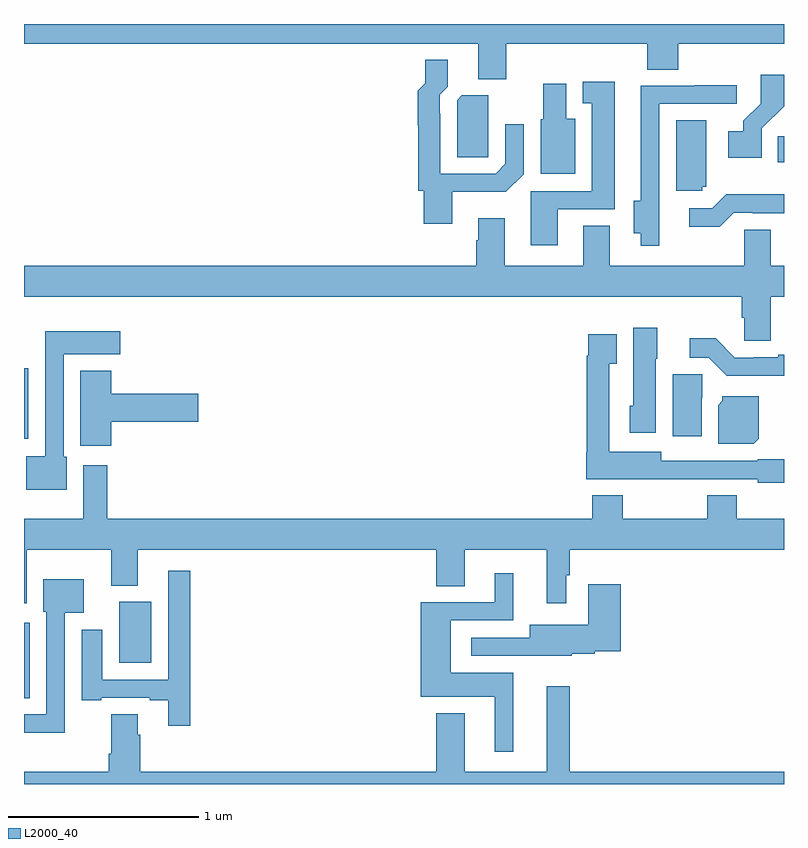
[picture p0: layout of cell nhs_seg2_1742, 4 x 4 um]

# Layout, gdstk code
import gdstk
lib = gdstk.Library(unit=1e-6, precision=1e-09)
def R(c, l, rs):  # rectangles x0, y0, x1, y1
    for r in rs: c.add(gdstk.rectangle(r[:2], r[2:], *l))
def P(c, l, *ps):  # polygons
    for p in ps: c.add(gdstk.Polygon(p, *l))
L2000_40 = (2000, 40)

nhs_seg2_1742 = lib.new_cell('nhs_seg2_1742')
R(nhs_seg2_1742, L2000_40, [(203,584.251,203.029,584.65), (203.501,584.438,203.671,584.758), (203,585.618,203.023,585.988), (206.968,587.072,207,587.21)])
P(nhs_seg2_1742, L2000_40, [(205.539,587.696),(206.279,587.696),(206.279,587.56),(206.444,587.56),(206.444,587.696),(207,587.696),(207,587.8),(203,587.8),(203,587.696),(205.391,587.696),(205.391,587.509),(205.539,587.509)],
  [(205.255,586.916),(205.535,586.916),(205.629,587.01),(205.629,587.272),(205.533,587.272),(205.533,587.064),(205.482,587.013),(205.191,587.013),(205.191,587.327),(205.188,587.327),(205.188,587.427),(205.231,587.47),(205.231,587.611),(205.111,587.611),(205.111,587.487),(205.073,587.448),(205.073,587.266),(205.075,587.266),(205.075,586.923),(205.103,586.923),(205.103,586.749),(205.255,586.749)],
  [(206.883,587.251),(207,587.368),(207,587.533),(206.877,587.533),(206.877,587.381),(206.786,587.291),(206.786,587.236),(206.706,587.236),(206.706,587.096),(206.883,587.096)],
  [(205.81,586.824),(206.11,586.824),(206.11,587.497),(205.94,587.497),(205.94,587.384),(205.988,587.384),(205.988,586.92),(205.667,586.92),(205.667,586.635),(205.81,586.635)],
  [(205.9,587.302),(205.855,587.302),(205.855,587.485),(205.733,587.485),(205.733,587.298),(205.721,587.298),(205.721,587.012),(205.9,587.012)],
  [(206.344,586.854),(206.343,586.854),(206.343,587.379),(206.752,587.379),(206.752,587.478),(206.527,587.478),(206.527,587.475),(206.246,587.475),(206.246,586.871),(206.21,586.871),(206.21,586.7),(206.246,586.7),(206.246,586.632),(206.344,586.632)],
  [(205.443,587.209),(205.444,587.209),(205.444,587.424),(205.305,587.424),(205.281,587.4),(205.281,587.098),(205.443,587.098)],
  [(206.571,586.944),(206.59,586.944),(206.59,587.293),(206.432,587.293),(206.432,586.923),(206.571,586.923)],
  [(206.736,586.806),(206.836,586.806),(206.836,586.803),(207,586.803),(207,586.903),(206.695,586.903),(206.622,586.83),(206.502,586.83),(206.502,586.733),(206.663,586.733)],
  [(206.929,586.364),(207,586.364),(207,586.528),(206.929,586.528),(206.929,586.718),(206.79,586.718),(206.79,586.528),(206.083,586.528),(206.083,586.739),(205.943,586.739),(205.943,586.528),(205.531,586.528),(205.531,586.777),(205.391,586.777),(205.391,586.661),(205.379,586.661),(205.379,586.528),(203,586.528),(203,586.364),(206.777,586.364),(206.777,586.254),(206.79,586.254),(206.79,586.132),(206.929,586.132)],
  [(206.326,586.038),(206.332,586.038),(206.332,586.201),(206.207,586.201),(206.207,585.792),(206.189,585.792),(206.189,585.648),(206.326,585.648)],
  [(203.224,585.522),(203.208,585.522),(203.208,586.061),(203.506,586.061),(203.506,586.183),(203.112,586.183),(203.112,585.526),(203.012,585.526),(203.012,585.35),(203.224,585.35)],
  [(207,585.508),(206.862,585.508),(206.862,585.501),(206.353,585.501),(206.353,585.55),(206.079,585.55),(206.079,586.012),(206.119,586.012),(206.119,586.168),(205.971,586.168),(205.971,586.055),(205.963,586.055),(205.963,585.546),(205.958,585.546),(205.958,585.404),(206.345,585.404),(206.345,585.405),(206.862,585.405),(206.862,585.386),(207,585.386)],
  [(207,586.06),(206.969,586.06),(206.969,586.047),(206.842,586.047),(206.842,586.044),(206.742,586.044),(206.64,586.147),(206.505,586.147),(206.505,586.044),(206.604,586.044),(206.698,585.95),(207,585.95)],
  [(203.459,585.707),(203.917,585.707),(203.917,585.854),(203.459,585.854),(203.459,585.976),(203.297,585.976),(203.297,585.579),(203.459,585.579)],
  [(206.566,585.834),(206.57,585.834),(206.57,585.957),(206.414,585.957),(206.414,585.63),(206.566,585.63)],
  [(206.866,585.616),(206.866,585.841),(206.676,585.841),(206.676,585.816),(206.654,585.794),(206.654,585.59),(206.84,585.59)],
  [(203.014,585.032),(203.459,585.032),(203.459,584.843),(203.599,584.843),(203.599,585.032),(205.169,585.032),(205.169,584.842),(205.321,584.842),(205.321,585.032),(205.751,585.032),(205.751,584.751),(205.855,584.751),(205.855,584.9),(205.873,584.9),(205.873,585.032),(207,585.032),(207,585.196),(206.751,585.196),(206.751,585.32),(206.596,585.32),(206.596,585.196),(206.151,585.196),(206.151,585.319),(205.991,585.319),(205.991,585.196),(203.438,585.196),(203.438,585.478),(203.312,585.478),(203.312,585.196),(203,585.196),(203,584.751),(203.014,584.751)],
  [(203.876,584.923),(203.76,584.923),(203.76,584.349),(203.413,584.349),(203.413,584.611),(203.303,584.611),(203.303,584.241),(203.407,584.241),(203.407,584.253),(203.663,584.253),(203.663,584.241),(203.759,584.241),(203.759,584.106),(203.876,584.106)],
  [(205.576,584.386),(205.246,584.386),(205.246,584.661),(205.576,584.661),(205.576,584.908),(205.478,584.908),(205.478,584.757),(205.088,584.757),(205.088,584.258),(205.478,584.258),(205.478,583.971),(205.576,583.971)],
  [(203.214,584.702),(203.314,584.702),(203.314,584.878),(203.102,584.878),(203.102,584.706),(203.118,584.706),(203.118,584.166),(203,584.166),(203,584.069),(203.214,584.069)],
  [(205.884,584.486),(206.004,584.486),(206.004,584.498),(206.141,584.498),(206.141,584.851),(205.97,584.851),(205.97,584.638),(205.661,584.638),(205.661,584.571),(205.353,584.571),(205.353,584.475),(205.665,584.475),(205.665,584.474),(205.884,584.474)],
  [(207,583.864),(205.873,583.864),(205.873,584.314),(205.751,584.314),(205.751,583.864),(205.321,583.864),(205.321,584.173),(205.169,584.173),(205.169,583.864),(203.612,583.864),(203.612,584.06),(203.599,584.06),(203.599,584.168),(203.459,584.168),(203.459,583.96),(203.447,583.96),(203.447,583.864),(203,583.864),(203,583.8),(207,583.8)])

lib.write_gds('nhs_seg2_1742.gds')
